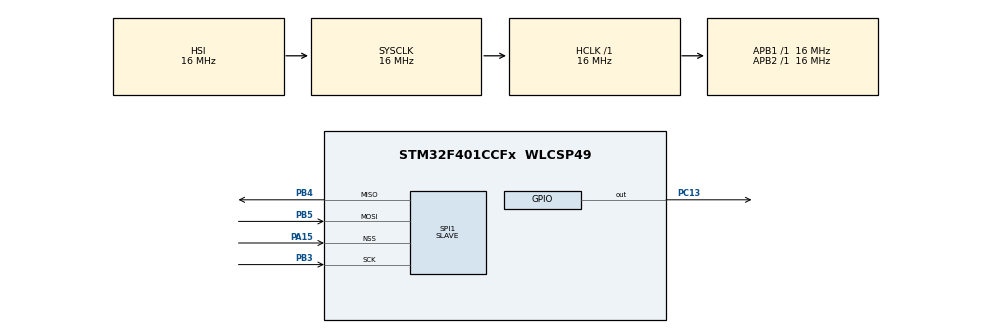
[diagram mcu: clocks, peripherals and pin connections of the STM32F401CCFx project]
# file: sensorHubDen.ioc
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Mcu.Family=STM32F4
Mcu.Name=STM32F401CCFx
Mcu.Package=WLCSP49
NVIC.PriorityGroup=NVIC_PRIORITYGROUP_4
PA15.Mode=NSS_Signal_Hard_Input
PA15.Signal=SPI1_NSS
PB3.Mode=Full_Duplex_Slave
PB3.Signal=SPI1_SCK
PB4.Mode=Full_Duplex_Slave
PB4.Signal=SPI1_MISO
PB5.Mode=Full_Duplex_Slave
PB5.Signal=SPI1_MOSI
PC13-ANTI_TAMP.Signal=GPIO_Output
ProjectManager.HeapSize=0x200
ProjectManager.StackSize=0x400
ProjectManager.TargetToolchain=Makefile
RCC.AHBFreq_Value=16000000
RCC.APB1Freq_Value=16000000
RCC.APB2Freq_Value=16000000
RCC.CortexFreq_Value=16000000
RCC.HSE_VALUE=25000000
RCC.HSI_VALUE=16000000
RCC.LSE_VALUE=32768
RCC.SYSCLKFreq_VALUE=16000000
RCC.VCOOutputFreq_Value=192000000
SPI1.Direction=SPI_DIRECTION_2LINES
SPI1.Mode=SPI_MODE_SLAVE
SPI1.VirtualNSS=VM_NSSHARD
SPI1.VirtualType=VM_SLAVE
VP_RTC_VS_RTC_Activate.Mode=RTC_Enabled
board=custom

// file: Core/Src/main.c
/* USER CODE BEGIN Header */
/**
  ******************************************************************************
  * @file           : main.c
  * @brief          : Main program body
  ******************************************************************************
  * @attention
  *
  * <h2><center>&copy; Copyright (c) 2021 STMicroelectronics.
  * All rights reserved.</center></h2>
  *
  * This software component is licensed by ST under BSD 3-Clause license,
  * the "License"; You may not use this file except in compliance with the
  * License. You may obtain a copy of the License at:
  *                        opensource.org/licenses/BSD-3-Clause
  *
  ******************************************************************************
  */
/* USER CODE END Header */
#include "main.h"

/* USER CODE BEGIN Includes */
#include <stdio.h>
#include <string.h>
/* USER CODE END Includes */

RTC_HandleTypeDef hrtc;

SPI_HandleTypeDef hspi1;

void SystemClock_Config(void);
static void MX_GPIO_Init(void);
static void MX_RTC_Init(void);
static void MX_SPI1_Init(void);

int main(void)
{

  /* MCU Configuration--------------------------------------------------------*/

  /* Reset of all peripherals, Initializes the Flash interface and the Systick. */
  HAL_Init();

  /* Configure the system clock */
  SystemClock_Config();

  /* Initialize all configured peripherals */
  MX_GPIO_Init();
  MX_RTC_Init();
  MX_SPI1_Init();
  /* USER CODE BEGIN 2 */
  char sendingMessage[50] = "Hello World!"; // 12 characters
  int messageSelect = 1;
  HAL_GPIO_WritePin(GPIOC, GPIO_PIN_13, GPIO_PIN_SET);
  HAL_Delay(1000); // wait one second
  HAL_GPIO_WritePin(GPIOC, GPIO_PIN_13, GPIO_PIN_RESET);
  HAL_Delay(1000); // wait one second -- flash the led to prove the STM was programmed
  /* USER CODE END 2 */

  /* Infinite loop */
  /* USER CODE BEGIN WHILE */
  while (1)
  {
	  if (messageSelect > 0) {
		  printf("Attempting to print hello world");
		  HAL_SPI_Transmit(&hspi1, (uint8_t *)sendingMessage, strlen(sendingMessage), 100); // send "Hello World!"
	  } else {
		  printf("Printing ~ 3 times");
		  for (int iteration = 0; iteration < 2; iteration++) { // send 3 ~s
		  		  HAL_SPI_Transmit(&hspi1, (uint8_t *)'~', 1, 100);
		  	  }
	  }
	  // messageSelect *= -1; // for now, always print hello world
	  HAL_GPIO_TogglePin(GPIOC, GPIO_PIN_13);
	  HAL_Delay(1000); // wait 1 second

    /* USER CODE END WHILE */

  }
}

void SystemClock_Config(void)
{
  RCC_OscInitTypeDef RCC_OscInitStruct = {0};
  RCC_ClkInitTypeDef RCC_ClkInitStruct = {0};
  RCC_PeriphCLKInitTypeDef PeriphClkInitStruct = {0};

  /** Configure the main internal regulator output voltage
  */
  __HAL_RCC_PWR_CLK_ENABLE();
  __HAL_PWR_VOLTAGESCALING_CONFIG(PWR_REGULATOR_VOLTAGE_SCALE2);
  /** Initializes the RCC Oscillators according to the specified parameters
  * in the RCC_OscInitTypeDef structure.
  */
  RCC_OscInitStruct.OscillatorType = RCC_OSCILLATORTYPE_HSI|RCC_OSCILLATORTYPE_LSI;
  RCC_OscInitStruct.HSIState = RCC_HSI_ON;
  RCC_OscInitStruct.HSICalibrationValue = RCC_HSICALIBRATION_DEFAULT;
  RCC_OscInitStruct.LSIState = RCC_LSI_ON;
  RCC_OscInitStruct.PLL.PLLState = RCC_PLL_NONE;
  if (HAL_RCC_OscConfig(&RCC_OscInitStruct) != HAL_OK)
  {
    Error_Handler();
  }
  /** Initializes the CPU, AHB and APB buses clocks
  */
  RCC_ClkInitStruct.ClockType = RCC_CLOCKTYPE_HCLK|RCC_CLOCKTYPE_SYSCLK
                              |RCC_CLOCKTYPE_PCLK1|RCC_CLOCKTYPE_PCLK2;
  RCC_ClkInitStruct.SYSCLKSource = RCC_SYSCLKSOURCE_HSI;
  RCC_ClkInitStruct.AHBCLKDivider = RCC_SYSCLK_DIV1;
  RCC_ClkInitStruct.APB1CLKDivider = RCC_HCLK_DIV1;
  RCC_ClkInitStruct.APB2CLKDivider = RCC_HCLK_DIV1;

  if (HAL_RCC_ClockConfig(&RCC_ClkInitStruct, FLASH_LATENCY_0) != HAL_OK)
  {
    Error_Handler();
  }
  PeriphClkInitStruct.PeriphClockSelection = RCC_PERIPHCLK_RTC;
  PeriphClkInitStruct.RTCClockSelection = RCC_RTCCLKSOURCE_LSI;
  if (HAL_RCCEx_PeriphCLKConfig(&PeriphClkInitStruct) != HAL_OK)
  {
    Error_Handler();
  }
}

static void MX_RTC_Init(void)
{

  /** Initialize RTC Only
  */
  hrtc.Instance = RTC;
  hrtc.Init.HourFormat = RTC_HOURFORMAT_24;
  hrtc.Init.AsynchPrediv = 127;
  hrtc.Init.SynchPrediv = 255;
  hrtc.Init.OutPut = RTC_OUTPUT_DISABLE;
  hrtc.Init.OutPutPolarity = RTC_OUTPUT_POLARITY_HIGH;
  hrtc.Init.OutPutType = RTC_OUTPUT_TYPE_OPENDRAIN;
  if (HAL_RTC_Init(&hrtc) != HAL_OK)
  {
    Error_Handler();
  }

}

static void MX_SPI1_Init(void)
{

  /* SPI1 parameter configuration*/
  hspi1.Instance = SPI1;
  hspi1.Init.Mode = SPI_MODE_SLAVE;
  hspi1.Init.Direction = SPI_DIRECTION_2LINES;
  hspi1.Init.DataSize = SPI_DATASIZE_8BIT;
  hspi1.Init.CLKPolarity = SPI_POLARITY_LOW;
  hspi1.Init.CLKPhase = SPI_PHASE_1EDGE;
  hspi1.Init.NSS = SPI_NSS_HARD_INPUT;
  hspi1.Init.FirstBit = SPI_FIRSTBIT_MSB;
  hspi1.Init.TIMode = SPI_TIMODE_DISABLE;
  hspi1.Init.CRCCalculation = SPI_CRCCALCULATION_DISABLE;
  hspi1.Init.CRCPolynomial = 10;
  if (HAL_SPI_Init(&hspi1) != HAL_OK)
  {
    Error_Handler();
  }

}

static void MX_GPIO_Init(void)
{
  GPIO_InitTypeDef GPIO_InitStruct = {0};

  /* GPIO Ports Clock Enable */
  __HAL_RCC_GPIOA_CLK_ENABLE();
  __HAL_RCC_GPIOB_CLK_ENABLE();
  __HAL_RCC_GPIOC_CLK_ENABLE();

  /*Configure GPIO pin Output Level */
  HAL_GPIO_WritePin(GPIOC, GPIO_PIN_13, GPIO_PIN_RESET);

  /*Configure GPIO pin : PC13 */
  GPIO_InitStruct.Pin = GPIO_PIN_13;
  GPIO_InitStruct.Mode = GPIO_MODE_OUTPUT_PP;
  GPIO_InitStruct.Pull = GPIO_NOPULL;
  GPIO_InitStruct.Speed = GPIO_SPEED_FREQ_LOW;
  HAL_GPIO_Init(GPIOC, &GPIO_InitStruct);

}

void Error_Handler(void)
{
  __disable_irq();
  while (1)
  {
  }
}

/************************ (C) COPYRIGHT STMicroelectronics *****END OF FILE****/
